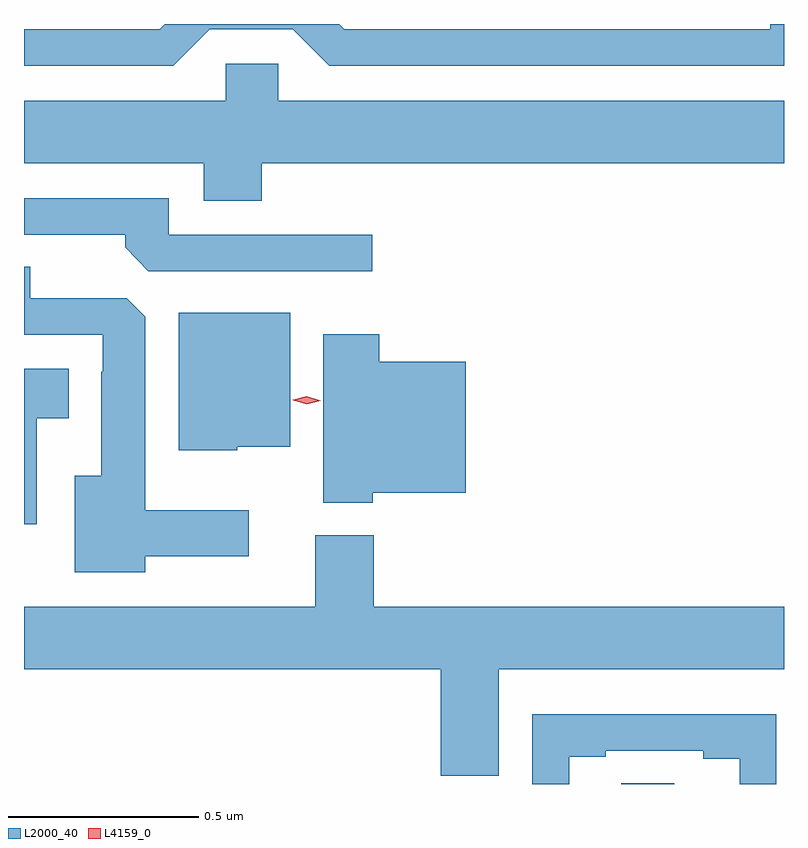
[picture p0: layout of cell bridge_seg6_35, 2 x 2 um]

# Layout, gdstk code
import gdstk
lib = gdstk.Library(unit=1e-6, precision=1e-09)
def R(c, l, rs):  # rectangles x0, y0, x1, y1
    for r in rs: c.add(gdstk.rectangle(r[:2], r[2:], *l))
def P(c, l, *ps):  # polygons
    for p in ps: c.add(gdstk.Polygon(p, *l))
L2000_40 = (2000, 40)
L4159_0 = (4159, 0)

bridge_seg6_35 = lib.new_cell('bridge_seg6_35')
R(bridge_seg6_35, L2000_40, [(1105.638,982.998,1105.777,983)])
P(bridge_seg6_35, L2000_40, [(1104.555,984.984),(1104.773,984.984),(1104.869,984.888),(1106.066,984.888),(1106.066,984.998),(1106.03,984.998),(1106.03,984.984),(1104.909,984.984),(1104.895,984.998),(1104.437,984.998),(1104.423,984.984),(1104.066,984.984),(1104.066,984.888),(1104.459,984.888)],
  [(1104.692,984.632),(1106.066,984.632),(1106.066,984.796),(1104.735,984.796),(1104.735,984.894),(1104.597,984.894),(1104.597,984.796),(1104.066,984.796),(1104.066,984.632),(1104.539,984.632),(1104.539,984.533),(1104.692,984.533)],
  [(1104.982,984.444),(1104.447,984.444),(1104.447,984.54),(1104.066,984.54),(1104.066,984.444),(1104.332,984.444),(1104.332,984.41),(1104.393,984.348),(1104.982,984.348)],
  [(1104.385,983.597),(1104.658,983.597),(1104.658,983.719),(1104.385,983.719),(1104.385,984.227),(1104.336,984.276),(1104.082,984.276),(1104.082,984.359),(1104.066,984.359),(1104.066,984.18),(1104.273,984.18),(1104.273,984.083),(1104.269,984.083),(1104.269,983.809),(1104.2,983.809),(1104.2,983.555),(1104.385,983.555)],
  [(1104.627,983.885),(1104.766,983.885),(1104.766,984.238),(1104.473,984.238),(1104.473,983.876),(1104.627,983.876)],
  [(1104.984,983.765),(1105.228,983.765),(1105.228,984.109),(1105.001,984.109),(1105.001,984.181),(1104.854,984.181),(1104.854,983.738),(1104.984,983.738)],
  [(1104.1,983.96),(1104.184,983.96),(1104.184,984.091),(1104.066,984.091),(1104.066,983.681),(1104.1,983.681)],
  [(1105.315,983.3),(1106.066,983.3),(1106.066,983.464),(1104.986,983.464),(1104.986,983.653),(1104.833,983.653),(1104.833,983.464),(1104.066,983.464),(1104.066,983.3),(1105.163,983.3),(1105.163,983.02),(1105.315,983.02)],
  [(1105.501,983.07),(1105.597,983.07),(1105.597,983.085),(1105.853,983.085),(1105.853,983.065),(1105.949,983.065),(1105.949,982.998),(1106.046,982.998),(1106.046,983.181),(1105.404,983.181),(1105.404,982.998),(1105.501,982.998)])
P(bridge_seg6_35, L4159_0, [(1104.81,983.998),(1104.774,984.008),(1104.773,984.009),(1104.774,984.009),(1104.81,984.018),(1104.847,984.007),(1104.847,984.007),(1104.847,984.007)])

lib.write_gds('bridge_seg6_35.gds')
